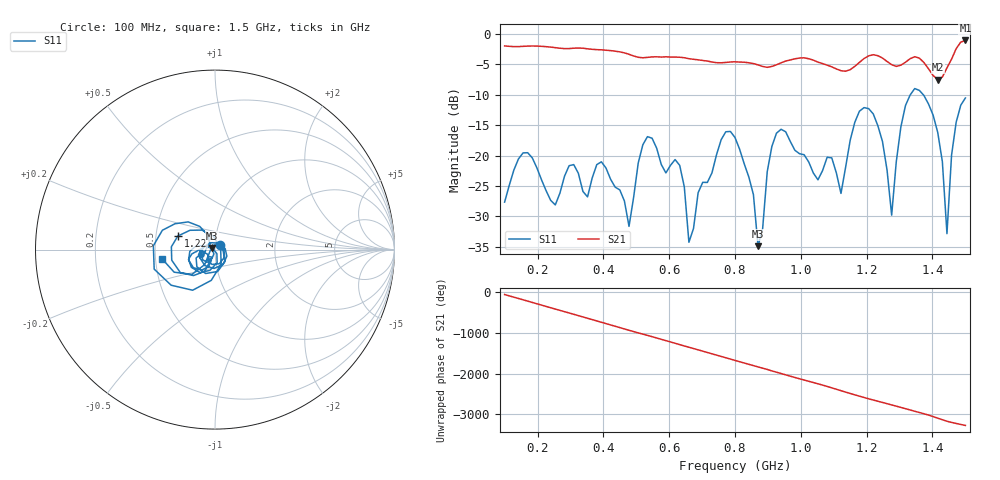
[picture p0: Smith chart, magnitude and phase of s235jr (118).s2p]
! NanoVNA-App
! Date: 2025-09-26 09:45:42
! Start: 100MHz Stop: 1,5GHz Points: 101
! S-Parameter data: F S11 S21 S12 S22
# Hz S RI R 50
!  Frequency  S11_Real  S11_Imag  S21_Real  S21_Imag  S12_Real  S12_Imag  S22_Real  S22_Imag
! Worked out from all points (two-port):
!   101 points, 100 MHz to 1.5 GHz, reference 50 ohm
!   highest |S21| = -1.06 dB at 1.5 GHz (marker M1); lowest = -7.5 dB at 1.416 GHz (marker M2)
!   |S21| within 3 dB of the highest: start of sweep to 659.9 MHz; 1.191 GHz to 1.251 GHz (59.2 MHz wide, 4.85 % of centre)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
!   lowest |S11| = -34.9 dB at 870 MHz (marker M3), VSWR 1.04, Z = 48.5 + j0.939 ohm
!   |S11| at or under -10 dB: start of sweep to 1.333 GHz; 1.372 GHz to end of sweep
!   S12 and S22 are empty: the file has one direction only
!   S11 on the Smith chart (normalised r, x): 100 MHz: 1.06, +0.06; 1.22 GHz: 0.65, +0.10; 1.5 GHz: 0.54, -0.06
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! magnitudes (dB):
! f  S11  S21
! 100 MHz  -27.6  -2.0
! 156 MHz  -19.6  -2.0
! 338 MHz  -25.9  -2.3
! 394 MHz  -21.0  -2.6
! 478 MHz  -31.6  -3.3
! 520 MHz  -18.2  -3.9
! 576 MHz  -21.5  -3.8
! 632 MHz  -21.6  -3.8
! 660 MHz  -34.3  -4.1
! 800 MHz  -17.0  -4.6
! 870 MHz  -34.9  -5.1
! 926 MHz  -16.3  -5.1
! 1.038 GHz  -22.9  -4.3
! 1.122 GHz  -26.2  -6.0
! 1.164 GHz  -14.5  -5.3
! 1.22 GHz  -13.1  -3.4
! 1.276 GHz  -29.8  -5.0
! 1.332 GHz  -10.0  -4.1
! 1.416 GHz  -16.2  -7.5
! 1.444 GHz  -32.8  -5.6
! 1.458 GHz  -19.9  -4.1
! 1.5 GHz  -10.5  -1.1
